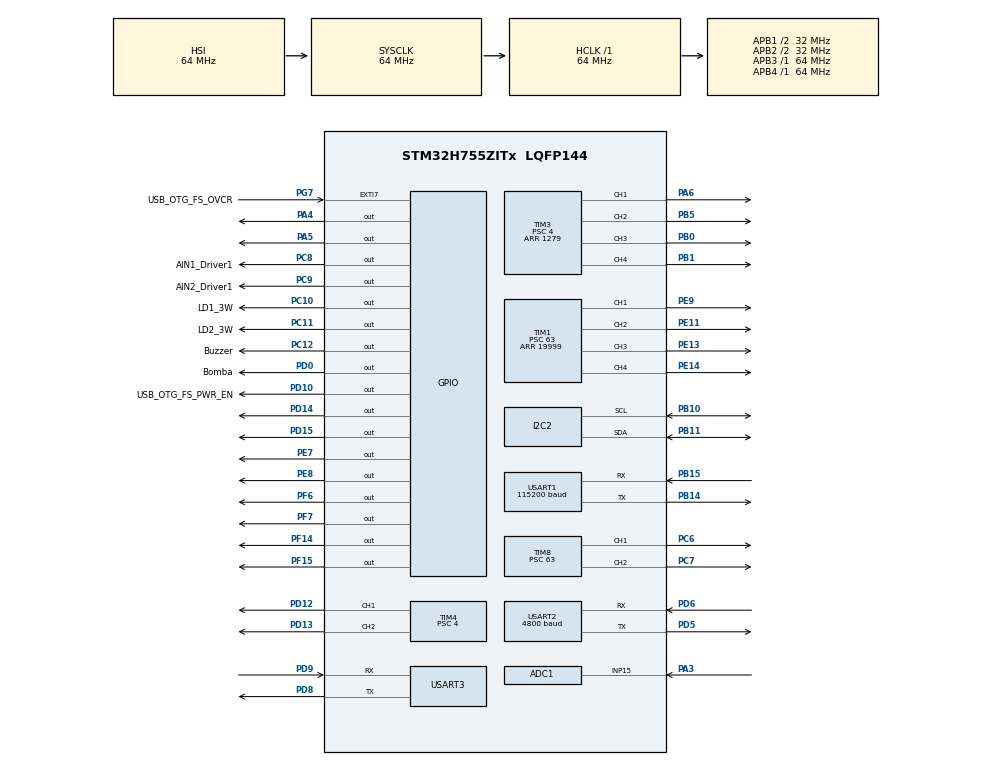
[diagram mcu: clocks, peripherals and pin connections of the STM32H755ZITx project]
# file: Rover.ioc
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ADC1.Channel-0\#ChannelRegularConversion=ADC_CHANNEL_15
ADC1.NbrOfConversion=1
ADC1.NbrOfConversionFlag=1
ADC1.OffsetNumber-0\#ChannelRegularConversion=ADC_OFFSET_NONE
ADC1.OffsetSignedSaturation-0\#ChannelRegularConversion=DISABLE
ADC1.Rank-0\#ChannelRegularConversion=1
ADC1.SamplingTime-0\#ChannelRegularConversion=ADC_SAMPLETIME_387CYCLES_5
ADC1.master=1
CortexM4.IPs=FATFS_M4\:I,FREERTOS_M4\:I,IWDG2\:I,RCC,WWDG2\:I,DMA,BDMA,MDMA,NVIC2\:I,ETH,USART3,DEBUG,PDM2PCM_M4\:I,PWR,RESMGR_UTILITY,SYS_M4\:I,USB_DEVICE_M4\:I,USB_HOST_M4\:I,CORTEX_M4\:I,GPIO,OPENAMP_M4\:I,VREFBUF,NUCLEO-H755ZI-Q
CortexM7.IPs=FATFS_M7\:I,FREERTOS_M7\:I,IWDG1\:I,RCC\:I,WWDG1\:I,DMA\:I,BDMA\:I,MDMA\:I,NVIC1\:I,ETH\:I,USART3\:I,SYS\:I,CORTEX_M7\:I,DEBUG\:I,PDM2PCM_M7\:I,PWR\:I,RESMGR_UTILITY\:I,USB_DEVICE_M7\:I,USB_HOST_M7\:I,GPIO\:I,OPENAMP_M7\:I,VREFBUF\:I,NUCLEO-H755ZI-Q\:I,TIM1\:I,TIM3\:I,TIM4\:I,ADC1\:I,I2C2\:I,USART2\:I,TIM8\:I,TIM6\:I,USART1\:I
CortexM7.Pins=PF6,PF7,PA4,PA5,PF14,PF15,PE7,PE8,PD10,PD14,PD15,PG7,PC8,PC9,PC10,PC11,PC12,PD0
FREERTOS_M7.Tasks01=defaultTask,24,128,StartDefaultTask,Default,NULL,Dynamic,NULL,NULL
FREERTOS_M7.configCHECK_FOR_STACK_OVERFLOW=2
FREERTOS_M7.configTOTAL_HEAP_SIZE=32768
FREERTOS_M7.configUSE_MALLOC_FAILED_HOOK=1
FREERTOS_M7.configUSE_NEWLIB_REENTRANT=1
I2C2.Timing=0x00707CBB
Mcu.Family=STM32H7
Mcu.Name=STM32H755ZITx
Mcu.Package=LQFP144
NVIC1.I2C2_ER_IRQn=true\:5\:0\:false\:false\:true\:true\:true\:true\:true
NVIC1.I2C2_EV_IRQn=true\:5\:0\:false\:false\:true\:true\:true\:true\:true
NVIC1.PriorityGroup=NVIC_PRIORITYGROUP_4
NVIC1.TIM6_DAC_IRQn=true\:15\:0\:false\:false\:true\:false\:false\:true\:true
NVIC1.TimeBase=TIM6_DAC_IRQn
NVIC1.TimeBaseIP=TIM6
NVIC1.USART1_IRQn=true\:5\:0\:false\:false\:true\:true\:true\:true\:true
NVIC2.PriorityGroup=NVIC_PRIORITYGROUP_4
PA1.PinAttribute=CortexM7
PA1.Signal=ETH_REF_CLK
PA11.PinAttribute=CortexM7
PA11.Signal=USB_OTG_FS_DM
PA12.PinAttribute=CortexM7
PA12.Signal=USB_OTG_FS_DP
PA13\ (JTMS/SWDIO).Mode=Serial_Wire
PA13\ (JTMS/SWDIO).PinAttribute=CortexM7
PA13\ (JTMS/SWDIO).Signal=DEBUG_JTMS-SWDIO
PA14\ (JTCK/SWCLK).Mode=Serial_Wire
PA14\ (JTCK/SWCLK).PinAttribute=CortexM7
PA14\ (JTCK/SWCLK).Signal=DEBUG_JTCK-SWCLK
PA2.PinAttribute=CortexM7
PA2.Signal=ETH_MDIO
PA3.PinAttribute=CortexM7
PA3.Signal=ADCx_INP15
PA4.PinAttribute=CortexM7
PA4.Signal=GPIO_Output
PA5.PinAttribute=CortexM7
PA5.Signal=GPIO_Output
PA6.PinAttribute=CortexM7
PA6.Signal=S_TIM3_CH1
PA7.PinAttribute=CortexM7
PA7.Signal=ETH_CRS_DV
PA8.PinAttribute=CortexM7
PA8.Signal=USB_OTG_FS_SOF
PA9.PinAttribute=CortexM7
PA9.Signal=USB_OTG_FS_VBUS
PB0.PinAttribute=CortexM7
PB0.Signal=S_TIM3_CH3
PB1.PinAttribute=CortexM7
PB1.Signal=S_TIM3_CH4
PB10.Mode=I2C
PB10.PinAttribute=CortexM7
PB10.Signal=I2C2_SCL
PB11.Mode=I2C
PB11.PinAttribute=CortexM7
PB11.Signal=I2C2_SDA
PB13.PinAttribute=CortexM7
PB13.Signal=ETH_TXD1
PB14.Mode=Asynchronous
PB14.PinAttribute=CortexM7
PB14.Signal=USART1_TX
PB15.Mode=Asynchronous
PB15.PinAttribute=CortexM7
PB15.Signal=USART1_RX
PB5.PinAttribute=CortexM7
PB5.Signal=S_TIM3_CH2
PC1.PinAttribute=CortexM7
PC1.Signal=ETH_MDC
PC10.GPIO_Label=LD1_3W
PC10.PinAttribute=CortexM7
PC10.Signal=GPIO_Output
PC11.GPIO_Label=LD2_3W
PC11.PinAttribute=CortexM7
PC11.Signal=GPIO_Output
PC12.GPIO_Label=Buzzer
PC12.PinAttribute=CortexM7
PC12.Signal=GPIO_Output
PC14-OSC32_IN\ (OSC32_IN).PinAttribute=Free
PC14-OSC32_IN\ (OSC32_IN).Signal=RCC_OSC32_IN
PC15-OSC32_OUT\ (OSC32_OUT).PinAttribute=Free
PC15-OSC32_OUT\ (OSC32_OUT).Signal=RCC_OSC32_OUT
PC4.PinAttribute=CortexM7
PC4.Signal=ETH_RXD0
PC5.PinAttribute=CortexM7
PC5.Signal=ETH_RXD1
PC6.PinAttribute=CortexM7
PC6.Signal=S_TIM8_CH1
PC7.PinAttribute=CortexM7
PC7.Signal=S_TIM8_CH2
PC8.GPIO_Label=AIN1_Driver1
PC8.PinAttribute=CortexM7
PC8.Signal=GPIO_Output
PC9.GPIO_Label=AIN2_Driver1
PC9.PinAttribute=CortexM7
PC9.Signal=GPIO_Output
PD0.GPIO_Label=Bomba
PD0.PinAttribute=CortexM7
PD0.Signal=GPIO_Output
PD10.GPIO_Label=USB_OTG_FS_PWR_EN
PD10.PinAttribute=CortexM7
PD10.Signal=GPIO_Output
PD12.PinAttribute=CortexM7
PD12.Signal=S_TIM4_CH1
PD13.PinAttribute=CortexM7
PD13.Signal=S_TIM4_CH2
PD14.PinAttribute=CortexM7
PD14.Signal=GPIO_Output
PD15.PinAttribute=CortexM7
PD15.Signal=GPIO_Output
PD5.Mode=Asynchronous
PD5.PinAttribute=CortexM7
PD5.Signal=USART2_TX
PD6.Mode=Asynchronous
PD6.PinAttribute=CortexM7
PD6.Signal=USART2_RX
PD8.Mode=Asynchronous
PD8.PinAttribute=CortexM7
PD8.Signal=USART3_TX
PD9.Mode=Asynchronous
PD9.PinAttribute=CortexM7
PD9.Signal=USART3_RX
PE11.PinAttribute=CortexM7
PE11.Signal=S_TIM1_CH2
PE13.PinAttribute=CortexM7
PE13.Signal=S_TIM1_CH3
PE14.PinAttribute=CortexM7
PE14.Signal=S_TIM1_CH4
PE7.PinAttribute=CortexM7
PE7.Signal=GPIO_Output
PE8.PinAttribute=CortexM7
PE8.Signal=GPIO_Output
PE9.PinAttribute=CortexM7
PE9.Signal=S_TIM1_CH1
PF14.PinAttribute=CortexM7
PF14.Signal=GPIO_Output
PF15.PinAttribute=CortexM7
PF15.Signal=GPIO_Output
PF6.PinAttribute=CortexM7
PF6.Signal=GPIO_Output
PF7.PinAttribute=CortexM7
PF7.Signal=GPIO_Output
PG11.PinAttribute=CortexM7
PG11.Signal=ETH_TX_EN
PG13.PinAttribute=CortexM7
PG13.Signal=ETH_TXD0
PG7.GPIO_Label=USB_OTG_FS_OVCR
PG7.PinAttribute=CortexM7
PG7.Signal=GPXTI7
PH0-OSC_IN\ (PH0).PinAttribute=Free
PH0-OSC_IN\ (PH0).Signal=RCC_OSC_IN
PH1-OSC_OUT\ (PH1).PinAttribute=Free
PH1-OSC_OUT\ (PH1).Signal=RCC_OSC_OUT
ProjectManager.HeapSize=M4-0x200,M7-0x200
ProjectManager.StackSize=M4-0x400,M7-0x400
ProjectManager.TargetToolchain=STM32CubeIDE
RCC.ADCFreq_Value=80000000
RCC.APB1Freq_Value=32000000
RCC.APB2Freq_Value=32000000
RCC.APB3Freq_Value=64000000
RCC.APB4Freq_Value=64000000
RCC.CortexFreq_Value=64000000
RCC.D2PPRE1=RCC_APB1_DIV2
RCC.D2PPRE2=RCC_APB2_DIV2
RCC.DIVM1=5
RCC.DIVM2=4
RCC.DIVN1=48
RCC.DIVN2=10
RCC.DIVQ1=5
RCC.DIVR1=4
RCC.HCLKFreq_Value=64000000
RCC.PLL2FRACN=0
RCC.PLL3FRACN=0
RCC.PLLFRACN=0
RCC.SYSCLKFreq_VALUE=64000000
RCC.SupplySource=PWR_DIRECT_SMPS_SUPPLY
RCC.USBFreq_Value=122880000
SH.ADCx_INP15.0=ADC1_INP15,IN15-Single-Ended
SH.S_TIM1_CH1.0=TIM1_CH1,PWM Generation1 CH1
SH.S_TIM1_CH2.0=TIM1_CH2,PWM Generation2 CH2
SH.S_TIM1_CH3.0=TIM1_CH3,PWM Generation3 CH3
SH.S_TIM1_CH4.0=TIM1_CH4,PWM Generation4 CH4
SH.S_TIM3_CH1.0=TIM3_CH1,PWM Generation1 CH1
SH.S_TIM3_CH2.0=TIM3_CH2,PWM Generation2 CH2
SH.S_TIM3_CH3.0=TIM3_CH3,PWM Generation3 CH3
SH.S_TIM3_CH4.0=TIM3_CH4,PWM Generation4 CH4
SH.S_TIM4_CH1.0=TIM4_CH1,PWM Generation1 CH1
SH.S_TIM4_CH2.0=TIM4_CH2,PWM Generation2 CH2
SH.S_TIM8_CH1.0=TIM8_CH1,PWM Generation1 CH1
SH.S_TIM8_CH2.0=TIM8_CH2,PWM Generation2 CH2
TIM1.AutoReloadPreload=TIM_AUTORELOAD_PRELOAD_ENABLE
TIM1.Channel-PWM\ Generation1\ CH1=TIM_CHANNEL_1
TIM1.Channel-PWM\ Generation2\ CH2=TIM_CHANNEL_2
TIM1.Channel-PWM\ Generation3\ CH3=TIM_CHANNEL_3
TIM1.Channel-PWM\ Generation4\ CH4=TIM_CHANNEL_4
TIM1.Period=19999 
TIM1.Prescaler=63
TIM1.Pulse-PWM\ Generation1\ CH1=1500
TIM1.Pulse-PWM\ Generation2\ CH2=1500
TIM1.Pulse-PWM\ Generation3\ CH3=1500
TIM1.Pulse-PWM\ Generation4\ CH4=1500
TIM3.Channel-PWM\ Generation1\ CH1=TIM_CHANNEL_1
TIM3.Channel-PWM\ Generation2\ CH2=TIM_CHANNEL_2
TIM3.Channel-PWM\ Generation3\ CH3=TIM_CHANNEL_3
TIM3.Channel-PWM\ Generation4\ CH4=TIM_CHANNEL_4
TIM3.Period=1279
TIM3.Prescaler=4
TIM4.Channel-PWM\ Generation1\ CH1=TIM_CHANNEL_1
TIM4.Channel-PWM\ Generation2\ CH2=TIM_CHANNEL_2
TIM4.Period=1279
TIM4.Prescaler=4
TIM8.Channel-PWM\ Generation1\ CH1=TIM_CHANNEL_1
TIM8.Channel-PWM\ Generation2\ CH2=TIM_CHANNEL_2
TIM8.Period=19999
TIM8.Prescaler=63
TIM8.Pulse-PWM\ Generation1\ CH1=1500
TIM8.Pulse-PWM\ Generation2\ CH2=1500
USART1.BaudRate=115200
USART1.VirtualMode-Asynchronous=VM_ASYNC
USART2.BaudRate=4800
USART2.VirtualMode-Asynchronous=VM_ASYNC
USART3.VirtualMode-Asynchronous=VM_ASYNC
VP_FREERTOS_M7_VS_CMSIS_V2.Mode=CMSIS_V2
VP_SYS_M4_VS_Systick.Mode=SysTick
VP_SYS_VS_tim6.Mode=TIM6
VP_TIM1_VS_ClockSourceINT.Mode=Internal
VP_TIM3_VS_ClockSourceINT.Mode=Internal
VP_TIM4_VS_ClockSourceINT.Mode=Internal
VP_TIM8_VS_ClockSourceINT.Mode=Internal
board=NUCLEO-H755ZI-Q

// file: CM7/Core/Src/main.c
/* USER CODE BEGIN Header */
/**
  ******************************************************************************
  * @file           : main.c
  * @brief          : Main program body
  ******************************************************************************
  * @attention
  *
  * Copyright (c) 2026 STMicroelectronics.
  * All rights reserved.
  *
  * This software is licensed under terms that can be found in the LICENSE file
  * in the root directory of this software component.
  * If no LICENSE file comes with this software, it is provided AS-IS.
  *
  ******************************************************************************
  */
/* USER CODE END Header */
#include "main.h"
#include "FreeRTOS.h"
#include "cmsis_os2.h"

/* USER CODE BEGIN Includes */

#include "servo_controller.h"
#include "motor_control.h"
#include "RTOS_Rover.h"
#include "ReceiveData.h"
#include "TransmitData.h"
#include "sensor_ultravioleta.h"
#include "soil_sensor.h"
#include <stdbool.h>

/* USER CODE END Includes */

/* USER CODE BEGIN PD */

/* DUAL_CORE_BOOT_SYNC_SEQUENCE: Define for dual core boot synchronization    */
/*                             demonstration code based on hardware semaphore */
/* This define is present in both CM7/CM4 projects                            */
/* To comment when developping/debugging on a single core                     */
#define DUAL_CORE_BOOT_SYNC_SEQUENCE

#if defined(DUAL_CORE_BOOT_SYNC_SEQUENCE)
#ifndef HSEM_ID_0
#define HSEM_ID_0 (0U) /* HW semaphore 0*/
#endif
#endif /* DUAL_CORE_BOOT_SYNC_SEQUENCE */

/* USER CODE END PD */

ADC_HandleTypeDef hadc1;

I2C_HandleTypeDef hi2c2;

TIM_HandleTypeDef htim1;
TIM_HandleTypeDef htim3;
TIM_HandleTypeDef htim4;
TIM_HandleTypeDef htim8;

UART_HandleTypeDef huart1;
UART_HandleTypeDef huart2;
UART_HandleTypeDef huart3;

/* Definitions for defaultTask */
osThreadId_t defaultTaskHandle;
const osThreadAttr_t defaultTask_attributes = {
  .name = "defaultTask",
  .stack_size = 128 * 4,
  .priority = (osPriority_t) osPriorityNormal,
};
/* USER CODE BEGIN PV */

SteeringAngles steering_angles = {
		.front_right = 90,
		.front_left = 90,
		.rear_right = 90,
		.rear_left = 90
};

uint8_t angle_soil_sensor_servos = 90; //Posición Inicial de 90°

uint8_t dc_motors_forward_duty_cycle = 0;
uint8_t dc_motors_backwards_duty_cycle = 0;

const uint16_t ARR = 1279;

ReceiveWifiDataConfig configWifi;

bool volatile measuringSoil = false;
bool volatile acceptableDistance = false;

SoilData soilData;

/* USER CODE END PV */

void SystemClock_Config(void);
static void MX_GPIO_Init(void);
static void MX_ADC1_Init(void);
static void MX_I2C2_Init(void);
static void MX_TIM1_Init(void);
static void MX_TIM3_Init(void);
static void MX_TIM4_Init(void);
static void MX_TIM8_Init(void);
static void MX_USART1_UART_Init(void);
static void MX_USART2_UART_Init(void);
static void MX_USART3_UART_Init(void);
void StartDefaultTask(void *argument);

int main(void)
{

/* USER CODE BEGIN Boot_Mode_Sequence_0 */
#if defined(DUAL_CORE_BOOT_SYNC_SEQUENCE)
  int32_t timeout;
#endif /* DUAL_CORE_BOOT_SYNC_SEQUENCE */
/* USER CODE END Boot_Mode_Sequence_0 */

/* USER CODE BEGIN Boot_Mode_Sequence_1 */
#if defined(DUAL_CORE_BOOT_SYNC_SEQUENCE)
  /* Wait until CPU2 boots and enters in stop mode or timeout*/
  timeout = 0xFFFF;
  while((__HAL_RCC_GET_FLAG(RCC_FLAG_D2CKRDY) != RESET) && (timeout-- > 0));
  if ( timeout < 0 )
  {
  Error_Handler();
  }
#endif /* DUAL_CORE_BOOT_SYNC_SEQUENCE */
/* USER CODE END Boot_Mode_Sequence_1 */
  /* MCU Configuration--------------------------------------------------------*/

  /* Reset of all peripherals, Initializes the Flash interface and the Systick. */
  HAL_Init();

  /* Configure the system clock */
  SystemClock_Config();
/* USER CODE BEGIN Boot_Mode_Sequence_2 */
#if defined(DUAL_CORE_BOOT_SYNC_SEQUENCE)
/* When system initialization is finished, Cortex-M7 will release Cortex-M4 by means of
HSEM notification */
/*HW semaphore Clock enable*/
__HAL_RCC_HSEM_CLK_ENABLE();
/*Take HSEM */
HAL_HSEM_FastTake(HSEM_ID_0);
/*Release HSEM in order to notify the CPU2(CM4)*/
HAL_HSEM_Release(HSEM_ID_0,0);
/* wait until CPU2 wakes up from stop mode */
timeout = 0xFFFF;
while((__HAL_RCC_GET_FLAG(RCC_FLAG_D2CKRDY) == RESET) && (timeout-- > 0));
if ( timeout < 0 )
{
Error_Handler();
}
#endif /* DUAL_CORE_BOOT_SYNC_SEQUENCE */
/* USER CODE END Boot_Mode_Sequence_2 */

  /* Initialize all configured peripherals */
  MX_GPIO_Init();
  MX_ADC1_Init();
  MX_I2C2_Init();
  MX_TIM1_Init();
  MX_TIM3_Init();
  MX_TIM4_Init();
  MX_TIM8_Init();
  MX_USART1_UART_Init();
  MX_USART2_UART_Init();
  MX_USART3_UART_Init();
  /* USER CODE BEGIN 2 */

  ServoMotors_PWM_Init(&htim1);
  DCmotorsInit();

  /* USER CODE END 2 */

  /* Init scheduler */
  osKernelInitialize();

  /* USER CODE BEGIN RTOS_MUTEX */
  /* add mutexes, ... */

  uartMutexHandle = osMutexNew(&uartMutexAttr);
  i2c2MutexHandle = osMutexNew(&i2c2MutexAttr);

  /* USER CODE END RTOS_MUTEX */

  /* USER CODE BEGIN RTOS_SEMAPHORES */
  /* add semaphores, ... */

  receiveDataSemHandle = osSemaphoreNew(1, 0, &receiveDataSemAttr);
  processDataSemHandle = osSemaphoreNew(1, 0, &processDataSemAttr);

  soilMeasureSemHandle = osSemaphoreNew(1, 0, &soilMeasureSemAttr);
  soilDataProcessSemHandle = osSemaphoreNew(1, 0, &soilDataProcessSemAttr);

  distanceMeasureSemHandle = osSemaphoreNew(1, 0, &distanceMeasureSemAttr);
  distanceProcessSemHandle = osSemaphoreNew(1, 0, &distanceProcessSemAttr);
  wateringSemHandle = osSemaphoreNew(1, 0, &wateringProcessSemAttr);

  transmitDataSemHandle = osSemaphoreNew(1, 0, &transmitDataSemAttr);

  guvaProcessSemHandle = osSemaphoreNew(1,  0, &guvaProcessSemAttr);

  /* USER CODE END RTOS_SEMAPHORES */

  /* USER CODE BEGIN RTOS_QUEUES */
  /* add queues, ... */

  soilMeasureQueueHandle = osMessageQueueNew(N_SOIL_MEASURMENTES, sizeof(float), &soilMedQueue_attr);

  /* USER CODE END RTOS_QUEUES */

  /* Create the thread(s) */
  /* creation of defaultTask */
  defaultTaskHandle = osThreadNew(StartDefaultTask, NULL, &defaultTask_attributes);

  /* USER CODE BEGIN RTOS_THREADS */
  /* add threads, ... */

  sendDataHandle = osThreadNew(TransmitDataTask, NULL, &sendDataAttr);

  receiveDataHandle = osThreadNew(receiveDataTask, NULL, &receiveDataAttr);

  processWebCommandHandle = osThreadNew(processWebDataTask, NULL, &processWebCommandAttr);

  measureDistanceHandle = osThreadNew(measureDistanceTask, NULL, &measureDistanceAttr);

  processDistanceHandle = osThreadNew(processDistanceTask, NULL, &processDistanceAttr);

  measureSoilHandle = osThreadNew(soilMeasuringTask, NULL, &measureSoilAttr);

  processSoilDataHandle = osThreadNew(soilDataProcessTask, NULL, &proccessSoilDataAttr);

  wateringHandle = osThreadNew(wateringTask, NULL, &wateringAttr);

  measureEnvironmentHandle = osThreadNew(readEnvironmentSensorsTask, NULL, &measureEnvironmentAttr);

  processEnvironmentDataHandle = osThreadNew(processGUVAsensorTask, NULL, &processEnvironmentDataAttr);

  if (!receiveDataHandle || !measureDistanceHandle || !processDistanceHandle ||
      !processWebCommandHandle || !measureSoilHandle || !processSoilDataHandle ||
      !wateringHandle || !sendDataHandle || !measureEnvironmentHandle || !processEnvironmentDataHandle) {
      Error_Handler();
  }

  /* USER CODE END RTOS_THREADS */

  /* Start scheduler */
  osKernelStart();

  /* We should never get here as control is now taken by the scheduler */

  /* Infinite loop */
  while (1)
  {

  }
}

void SystemClock_Config(void)
{
  RCC_OscInitTypeDef RCC_OscInitStruct = {0};
  RCC_ClkInitTypeDef RCC_ClkInitStruct = {0};

  /** Supply configuration update enable
  */
  HAL_PWREx_ConfigSupply(PWR_DIRECT_SMPS_SUPPLY);

  /** Configure the main internal regulator output voltage
  */
  __HAL_PWR_VOLTAGESCALING_CONFIG(PWR_REGULATOR_VOLTAGE_SCALE3);

  while(!__HAL_PWR_GET_FLAG(PWR_FLAG_VOSRDY)) {}

  /** Macro to configure the PLL clock source
  */
  __HAL_RCC_PLL_PLLSOURCE_CONFIG(RCC_PLLSOURCE_HSI);

  /** Initializes the RCC Oscillators according to the specified parameters
  * in the RCC_OscInitTypeDef structure.
  */
  RCC_OscInitStruct.OscillatorType = RCC_OSCILLATORTYPE_HSI;
  RCC_OscInitStruct.HSIState = RCC_HSI_DIV1;
  RCC_OscInitStruct.HSICalibrationValue = RCC_HSICALIBRATION_DEFAULT;
  RCC_OscInitStruct.PLL.PLLState = RCC_PLL_NONE;
  if (HAL_RCC_OscConfig(&RCC_OscInitStruct) != HAL_OK)
  {
    Error_Handler();
  }

  /** Initializes the CPU, AHB and APB buses clocks
  */
  RCC_ClkInitStruct.ClockType = RCC_CLOCKTYPE_HCLK|RCC_CLOCKTYPE_SYSCLK
                              |RCC_CLOCKTYPE_PCLK1|RCC_CLOCKTYPE_PCLK2
                              |RCC_CLOCKTYPE_D3PCLK1|RCC_CLOCKTYPE_D1PCLK1;
  RCC_ClkInitStruct.SYSCLKSource = RCC_SYSCLKSOURCE_HSI;
  RCC_ClkInitStruct.SYSCLKDivider = RCC_SYSCLK_DIV1;
  RCC_ClkInitStruct.AHBCLKDivider = RCC_HCLK_DIV1;
  RCC_ClkInitStruct.APB3CLKDivider = RCC_APB3_DIV1;
  RCC_ClkInitStruct.APB1CLKDivider = RCC_APB1_DIV2;
  RCC_ClkInitStruct.APB2CLKDivider = RCC_APB2_DIV2;
  RCC_ClkInitStruct.APB4CLKDivider = RCC_APB4_DIV1;

  if (HAL_RCC_ClockConfig(&RCC_ClkInitStruct, FLASH_LATENCY_1) != HAL_OK)
  {
    Error_Handler();
  }
}

static void MX_ADC1_Init(void)
{

  ADC_MultiModeTypeDef multimode = {0};
  ADC_ChannelConfTypeDef sConfig = {0};

  /** Common config
  */
  hadc1.Instance = ADC1;
  hadc1.Init.ClockPrescaler = ADC_CLOCK_ASYNC_DIV2;
  hadc1.Init.Resolution = ADC_RESOLUTION_16B;
  hadc1.Init.ScanConvMode = ADC_SCAN_DISABLE;
  hadc1.Init.EOCSelection = ADC_EOC_SINGLE_CONV;
  hadc1.Init.LowPowerAutoWait = DISABLE;
  hadc1.Init.ContinuousConvMode = DISABLE;
  hadc1.Init.NbrOfConversion = 1;
  hadc1.Init.DiscontinuousConvMode = DISABLE;
  hadc1.Init.ExternalTrigConv = ADC_SOFTWARE_START;
  hadc1.Init.ExternalTrigConvEdge = ADC_EXTERNALTRIGCONVEDGE_NONE;
  hadc1.Init.ConversionDataManagement = ADC_CONVERSIONDATA_DR;
  hadc1.Init.Overrun = ADC_OVR_DATA_PRESERVED;
  hadc1.Init.LeftBitShift = ADC_LEFTBITSHIFT_NONE;
  hadc1.Init.OversamplingMode = DISABLE;
  hadc1.Init.Oversampling.Ratio = 1;
  if (HAL_ADC_Init(&hadc1) != HAL_OK)
  {
    Error_Handler();
  }

  /** Configure the ADC multi-mode
  */
  multimode.Mode = ADC_MODE_INDEPENDENT;
  if (HAL_ADCEx_MultiModeConfigChannel(&hadc1, &multimode) != HAL_OK)
  {
    Error_Handler();
  }

  /** Configure Regular Channel
  */
  sConfig.Channel = ADC_CHANNEL_15;
  sConfig.Rank = ADC_REGULAR_RANK_1;
  sConfig.SamplingTime = ADC_SAMPLETIME_387CYCLES_5;
  sConfig.SingleDiff = ADC_SINGLE_ENDED;
  sConfig.OffsetNumber = ADC_OFFSET_NONE;
  sConfig.Offset = 0;
  sConfig.OffsetSignedSaturation = DISABLE;
  if (HAL_ADC_ConfigChannel(&hadc1, &sConfig) != HAL_OK)
  {
    Error_Handler();
  }

}

static void MX_I2C2_Init(void)
{

  hi2c2.Instance = I2C2;
  hi2c2.Init.Timing = 0x00707CBB;
  hi2c2.Init.OwnAddress1 = 0;
  hi2c2.Init.AddressingMode = I2C_ADDRESSINGMODE_7BIT;
  hi2c2.Init.DualAddressMode = I2C_DUALADDRESS_DISABLE;
  hi2c2.Init.OwnAddress2 = 0;
  hi2c2.Init.OwnAddress2Masks = I2C_OA2_NOMASK;
  hi2c2.Init.GeneralCallMode = I2C_GENERALCALL_DISABLE;
  hi2c2.Init.NoStretchMode = I2C_NOSTRETCH_DISABLE;
  if (HAL_I2C_Init(&hi2c2) != HAL_OK)
  {
    Error_Handler();
  }

  /** Configure Analogue filter
  */
  if (HAL_I2CEx_ConfigAnalogFilter(&hi2c2, I2C_ANALOGFILTER_ENABLE) != HAL_OK)
  {
    Error_Handler();
  }

  /** Configure Digital filter
  */
  if (HAL_I2CEx_ConfigDigitalFilter(&hi2c2, 0) != HAL_OK)
  {
    Error_Handler();
  }

}

static void MX_TIM1_Init(void)
{

  TIM_ClockConfigTypeDef sClockSourceConfig = {0};
  TIM_MasterConfigTypeDef sMasterConfig = {0};
  TIM_OC_InitTypeDef sConfigOC = {0};
  TIM_BreakDeadTimeConfigTypeDef sBreakDeadTimeConfig = {0};

  htim1.Instance = TIM1;
  htim1.Init.Prescaler = 63;
  htim1.Init.CounterMode = TIM_COUNTERMODE_UP;
  htim1.Init.Period = 19999 ;
  htim1.Init.ClockDivision = TIM_CLOCKDIVISION_DIV1;
  htim1.Init.RepetitionCounter = 0;
  htim1.Init.AutoReloadPreload = TIM_AUTORELOAD_PRELOAD_ENABLE;
  if (HAL_TIM_Base_Init(&htim1) != HAL_OK)
  {
    Error_Handler();
  }
  sClockSourceConfig.ClockSource = TIM_CLOCKSOURCE_INTERNAL;
  if (HAL_TIM_ConfigClockSource(&htim1, &sClockSourceConfig) != HAL_OK)
  {
    Error_Handler();
  }
  if (HAL_TIM_PWM_Init(&htim1) != HAL_OK)
  {
    Error_Handler();
  }
  sMasterConfig.MasterOutputTrigger = TIM_TRGO_RESET;
  sMasterConfig.MasterOutputTrigger2 = TIM_TRGO2_RESET;
  sMasterConfig.MasterSlaveMode = TIM_MASTERSLAVEMODE_DISABLE;
  if (HAL_TIMEx_MasterConfigSynchronization(&htim1, &sMasterConfig) != HAL_OK)
  {
    Error_Handler();
  }
  sConfigOC.OCMode = TIM_OCMODE_PWM1;
  sConfigOC.Pulse = 1500;
  sConfigOC.OCPolarity = TIM_OCPOLARITY_HIGH;
  sConfigOC.OCNPolarity = TIM_OCNPOLARITY_HIGH;
  sConfigOC.OCFastMode = TIM_OCFAST_DISABLE;
  sConfigOC.OCIdleState = TIM_OCIDLESTATE_RESET;
  sConfigOC.OCNIdleState = TIM_OCNIDLESTATE_RESET;
  if (HAL_TIM_PWM_ConfigChannel(&htim1, &sConfigOC, TIM_CHANNEL_1) != HAL_OK)
  {
    Error_Handler();
  }
  if (HAL_TIM_PWM_ConfigChannel(&htim1, &sConfigOC, TIM_CHANNEL_2) != HAL_OK)
  {
    Error_Handler();
  }
  if (HAL_TIM_PWM_ConfigChannel(&htim1, &sConfigOC, TIM_CHANNEL_3) != HAL_OK)
  {
    Error_Handler();
  }
  if (HAL_TIM_PWM_ConfigChannel(&htim1, &sConfigOC, TIM_CHANNEL_4) != HAL_OK)
  {
    Error_Handler();
  }
  sBreakDeadTimeConfig.OffStateRunMode = TIM_OSSR_DISABLE;
  sBreakDeadTimeConfig.OffStateIDLEMode = TIM_OSSI_DISABLE;
  sBreakDeadTimeConfig.LockLevel = TIM_LOCKLEVEL_OFF;
  sBreakDeadTimeConfig.DeadTime = 0;
  sBreakDeadTimeConfig.BreakState = TIM_BREAK_DISABLE;
  sBreakDeadTimeConfig.BreakPolarity = TIM_BREAKPOLARITY_HIGH;
  sBreakDeadTimeConfig.BreakFilter = 0;
  sBreakDeadTimeConfig.Break2State = TIM_BREAK2_DISABLE;
  sBreakDeadTimeConfig.Break2Polarity = TIM_BREAK2POLARITY_HIGH;
  sBreakDeadTimeConfig.Break2Filter = 0;
  sBreakDeadTimeConfig.AutomaticOutput = TIM_AUTOMATICOUTPUT_DISABLE;
  if (HAL_TIMEx_ConfigBreakDeadTime(&htim1, &sBreakDeadTimeConfig) != HAL_OK)
  {
    Error_Handler();
  }
  HAL_TIM_MspPostInit(&htim1);

}

static void MX_TIM3_Init(void)
{

  TIM_ClockConfigTypeDef sClockSourceConfig = {0};
  TIM_MasterConfigTypeDef sMasterConfig = {0};
  TIM_OC_InitTypeDef sConfigOC = {0};

  htim3.Instance = TIM3;
  htim3.Init.Prescaler = 4;
  htim3.Init.CounterMode = TIM_COUNTERMODE_UP;
  htim3.Init.Period = 1279;
  htim3.Init.ClockDivision = TIM_CLOCKDIVISION_DIV1;
  htim3.Init.AutoReloadPreload = TIM_AUTORELOAD_PRELOAD_DISABLE;
  if (HAL_TIM_Base_Init(&htim3) != HAL_OK)
  {
    Error_Handler();
  }
  sClockSourceConfig.ClockSource = TIM_CLOCKSOURCE_INTERNAL;
  if (HAL_TIM_ConfigClockSource(&htim3, &sClockSourceConfig) != HAL_OK)
  {
    Error_Handler();
  }
  if (HAL_TIM_PWM_Init(&htim3) != HAL_OK)
  {
    Error_Handler();
  }
  sMasterConfig.MasterOutputTrigger = TIM_TRGO_RESET;
  sMasterConfig.MasterSlaveMode = TIM_MASTERSLAVEMODE_DISABLE;
  if (HAL_TIMEx_MasterConfigSynchronization(&htim3, &sMasterConfig) != HAL_OK)
  {
    Error_Handler();
  }
  sConfigOC.OCMode = TIM_OCMODE_PWM1;
  sConfigOC.Pulse = 0;
  sConfigOC.OCPolarity = TIM_OCPOLARITY_HIGH;
  sConfigOC.OCFastMode = TIM_OCFAST_DISABLE;
  if (HAL_TIM_PWM_ConfigChannel(&htim3, &sConfigOC, TIM_CHANNEL_1) != HAL_OK)
  {
    Error_Handler();
  }
  if (HAL_TIM_PWM_ConfigChannel(&htim3, &sConfigOC, TIM_CHANNEL_2) != HAL_OK)
  {
    Error_Handler();
  }
  if (HAL_TIM_PWM_ConfigChannel(&htim3, &sConfigOC, TIM_CHANNEL_3) != HAL_OK)
  {
    Error_Handler();
  }
  if (HAL_TIM_PWM_ConfigChannel(&htim3, &sConfigOC, TIM_CHANNEL_4) != HAL_OK)
  {
    Error_Handler();
  }
  HAL_TIM_MspPostInit(&htim3);

}

static void MX_TIM4_Init(void)
{

  TIM_ClockConfigTypeDef sClockSourceConfig = {0};
  TIM_MasterConfigTypeDef sMasterConfig = {0};
  TIM_OC_InitTypeDef sConfigOC = {0};

  htim4.Instance = TIM4;
  htim4.Init.Prescaler = 4;
  htim4.Init.CounterMode = TIM_COUNTERMODE_UP;
  htim4.Init.Period = 1279;
  htim4.Init.ClockDivision = TIM_CLOCKDIVISION_DIV1;
  htim4.Init.AutoReloadPreload = TIM_AUTORELOAD_PRELOAD_DISABLE;
  if (HAL_TIM_Base_Init(&htim4) != HAL_OK)
  {
    Error_Handler();
  }
  sClockSourceConfig.ClockSource = TIM_CLOCKSOURCE_INTERNAL;
  if (HAL_TIM_ConfigClockSource(&htim4, &sClockSourceConfig) != HAL_OK)
  {
    Error_Handler();
  }
  if (HAL_TIM_PWM_Init(&htim4) != HAL_OK)
  {
    Error_Handler();
  }
  sMasterConfig.MasterOutputTrigger = TIM_TRGO_RESET;
  sMasterConfig.MasterSlaveMode = TIM_MASTERSLAVEMODE_DISABLE;
  if (HAL_TIMEx_MasterConfigSynchronization(&htim4, &sMasterConfig) != HAL_OK)
  {
    Error_Handler();
  }
  sConfigOC.OCMode = TIM_OCMODE_PWM1;
  sConfigOC.Pulse = 0;
  sConfigOC.OCPolarity = TIM_OCPOLARITY_HIGH;
  sConfigOC.OCFastMode = TIM_OCFAST_DISABLE;
  if (HAL_TIM_PWM_ConfigChannel(&htim4, &sConfigOC, TIM_CHANNEL_1) != HAL_OK)
  {
    Error_Handler();
  }
  if (HAL_TIM_PWM_ConfigChannel(&htim4, &sConfigOC, TIM_CHANNEL_2) != HAL_OK)
  {
    Error_Handler();
  }
  HAL_TIM_MspPostInit(&htim4);

}

static void MX_TIM8_Init(void)
{

  TIM_ClockConfigTypeDef sClockSourceConfig = {0};
  TIM_MasterConfigTypeDef sMasterConfig = {0};
  TIM_OC_InitTypeDef sConfigOC = {0};
  TIM_BreakDeadTimeConfigTypeDef sBreakDeadTimeConfig = {0};

  htim8.Instance = TIM8;
  htim8.Init.Prescaler = 63;
  htim8.Init.CounterMode = TIM_COUNTERMODE_UP;
  htim8.Init.Period = 19999;
  htim8.Init.ClockDivision = TIM_CLOCKDIVISION_DIV1;
  htim8.Init.RepetitionCounter = 0;
  htim8.Init.AutoReloadPreload = TIM_AUTORELOAD_PRELOAD_DISABLE;
  if (HAL_TIM_Base_Init(&htim8) != HAL_OK)
  {
    Error_Handler();
  }
  sClockSourceConfig.ClockSource = TIM_CLOCKSOURCE_INTERNAL;
  if (HAL_TIM_ConfigClockSource(&htim8, &sClockSourceConfig) != HAL_OK)
  {
    Error_Handler();
  }
  if (HAL_TIM_PWM_Init(&htim8) != HAL_OK)
  {
    Error_Handler();
  }
  sMasterConfig.MasterOutputTrigger = TIM_TRGO_RESET;
  sMasterConfig.MasterOutputTrigger2 = TIM_TRGO2_RESET;
  sMasterConfig.MasterSlaveMode = TIM_MASTERSLAVEMODE_DISABLE;
  if (HAL_TIMEx_MasterConfigSynchronization(&htim8, &sMasterConfig) != HAL_OK)
  {
    Error_Handler();
  }
  sConfigOC.OCMode = TIM_OCMODE_PWM1;
  sConfigOC.Pulse = 1500;
  sConfigOC.OCPolarity = TIM_OCPOLARITY_HIGH;
  sConfigOC.OCNPolarity = TIM_OCNPOLARITY_HIGH;
  sConfigOC.OCFastMode = TIM_OCFAST_DISABLE;
  sConfigOC.OCIdleState = TIM_OCIDLESTATE_RESET;
  sConfigOC.OCNIdleState = TIM_OCNIDLESTATE_RESET;
  if (HAL_TIM_PWM_ConfigChannel(&htim8, &sConfigOC, TIM_CHANNEL_1) != HAL_OK)
  {
    Error_Handler();
  }
  if (HAL_TIM_PWM_ConfigChannel(&htim8, &sConfigOC, TIM_CHANNEL_2) != HAL_OK)
  {
    Error_Handler();
  }
  sBreakDeadTimeConfig.OffStateRunMode = TIM_OSSR_DISABLE;
  sBreakDeadTimeConfig.OffStateIDLEMode = TIM_OSSI_DISABLE;
  sBreakDeadTimeConfig.LockLevel = TIM_LOCKLEVEL_OFF;
  sBreakDeadTimeConfig.DeadTime = 0;
  sBreakDeadTimeConfig.BreakState = TIM_BREAK_DISABLE;
  sBreakDeadTimeConfig.BreakPolarity = TIM_BREAKPOLARITY_HIGH;
  sBreakDeadTimeConfig.BreakFilter = 0;
  sBreakDeadTimeConfig.Break2State = TIM_BREAK2_DISABLE;
  sBreakDeadTimeConfig.Break2Polarity = TIM_BREAK2POLARITY_HIGH;
  sBreakDeadTimeConfig.Break2Filter = 0;
  sBreakDeadTimeConfig.AutomaticOutput = TIM_AUTOMATICOUTPUT_DISABLE;
  if (HAL_TIMEx_ConfigBreakDeadTime(&htim8, &sBreakDeadTimeConfig) != HAL_OK)
  {
    Error_Handler();
  }
  HAL_TIM_MspPostInit(&htim8);

}

static void MX_USART1_UART_Init(void)
{

  huart1.Instance = USART1;
  huart1.Init.BaudRate = 115200;
  huart1.Init.WordLength = UART_WORDLENGTH_8B;
  huart1.Init.StopBits = UART_STOPBITS_1;
  huart1.Init.Parity = UART_PARITY_NONE;
  huart1.Init.Mode = UART_MODE_TX_RX;
  huart1.Init.HwFlowCtl = UART_HWCONTROL_NONE;
  huart1.Init.OverSampling = UART_OVERSAMPLING_16;
  huart1.Init.OneBitSampling = UART_ONE_BIT_SAMPLE_DISABLE;
  huart1.Init.ClockPrescaler = UART_PRESCALER_DIV1;
  huart1.AdvancedInit.AdvFeatureInit = UART_ADVFEATURE_NO_INIT;
  if (HAL_UART_Init(&huart1) != HAL_OK)
  {
    Error_Handler();
  }
  if (HAL_UARTEx_SetTxFifoThreshold(&huart1, UART_TXFIFO_THRESHOLD_1_8) != HAL_OK)
  {
    Error_Handler();
  }
  if (HAL_UARTEx_SetRxFifoThreshold(&huart1, UART_RXFIFO_THRESHOLD_1_8) != HAL_OK)
  {
    Error_Handler();
  }
  if (HAL_UARTEx_DisableFifoMode(&huart1) != HAL_OK)
  {
    Error_Handler();
  }

}

static void MX_USART2_UART_Init(void)
{

  huart2.Instance = USART2;
  huart2.Init.BaudRate = 4800;
  huart2.Init.WordLength = UART_WORDLENGTH_8B;
  huart2.Init.StopBits = UART_STOPBITS_1;
  huart2.Init.Parity = UART_PARITY_NONE;
  huart2.Init.Mode = UART_MODE_TX_RX;
  huart2.Init.HwFlowCtl = UART_HWCONTROL_NONE;
  huart2.Init.OverSampling = UART_OVERSAMPLING_16;
  huart2.Init.OneBitSampling = UART_ONE_BIT_SAMPLE_DISABLE;
  huart2.Init.ClockPrescaler = UART_PRESCALER_DIV1;
  huart2.AdvancedInit.AdvFeatureInit = UART_ADVFEATURE_NO_INIT;
  if (HAL_UART_Init(&huart2) != HAL_OK)
  {
    Error_Handler();
  }
  if (HAL_UARTEx_SetTxFifoThreshold(&huart2, UART_TXFIFO_THRESHOLD_1_8) != HAL_OK)
  {
    Error_Handler();
  }
  if (HAL_UARTEx_SetRxFifoThreshold(&huart2, UART_RXFIFO_THRESHOLD_1_8) != HAL_OK)
  {
    Error_Handler();
  }
  if (HAL_UARTEx_DisableFifoMode(&huart2) != HAL_OK)
  {
    Error_Handler();
  }

}

static void MX_USART3_UART_Init(void)
{

  huart3.Instance = USART3;
  huart3.Init.BaudRate = 115200;
  huart3.Init.WordLength = UART_WORDLENGTH_8B;
  huart3.Init.StopBits = UART_STOPBITS_1;
  huart3.Init.Parity = UART_PARITY_NONE;
  huart3.Init.Mode = UART_MODE_TX_RX;
  huart3.Init.HwFlowCtl = UART_HWCONTROL_NONE;
  huart3.Init.OverSampling = UART_OVERSAMPLING_16;
  huart3.Init.OneBitSampling = UART_ONE_BIT_SAMPLE_DISABLE;
  huart3.Init.ClockPrescaler = UART_PRESCALER_DIV1;
  huart3.AdvancedInit.AdvFeatureInit = UART_ADVFEATURE_NO_INIT;
  if (HAL_UART_Init(&huart3) != HAL_OK)
  {
    Error_Handler();
  }
  if (HAL_UARTEx_SetTxFifoThreshold(&huart3, UART_TXFIFO_THRESHOLD_1_8) != HAL_OK)
  {
    Error_Handler();
  }
  if (HAL_UARTEx_SetRxFifoThreshold(&huart3, UART_RXFIFO_THRESHOLD_1_8) != HAL_OK)
  {
    Error_Handler();
  }
  if (HAL_UARTEx_DisableFifoMode(&huart3) != HAL_OK)
  {
    Error_Handler();
  }

}

static void MX_GPIO_Init(void)
{
  GPIO_InitTypeDef GPIO_InitStruct = {0};

  /* GPIO Ports Clock Enable */
  __HAL_RCC_GPIOF_CLK_ENABLE();
  __HAL_RCC_GPIOC_CLK_ENABLE();
  __HAL_RCC_GPIOA_CLK_ENABLE();
  __HAL_RCC_GPIOB_CLK_ENABLE();
  __HAL_RCC_GPIOE_CLK_ENABLE();
  __HAL_RCC_GPIOD_CLK_ENABLE();
  __HAL_RCC_GPIOG_CLK_ENABLE();

  /*Configure GPIO pin Output Level */
  HAL_GPIO_WritePin(GPIOF, GPIO_PIN_6|GPIO_PIN_7|GPIO_PIN_14|GPIO_PIN_15, GPIO_PIN_RESET);

  /*Configure GPIO pin Output Level */
  HAL_GPIO_WritePin(GPIOA, GPIO_PIN_4|GPIO_PIN_5, GPIO_PIN_RESET);

  /*Configure GPIO pin Output Level */
  HAL_GPIO_WritePin(GPIOE, GPIO_PIN_7|GPIO_PIN_8, GPIO_PIN_RESET);

  /*Configure GPIO pin Output Level */
  HAL_GPIO_WritePin(GPIOD, USB_OTG_FS_PWR_EN_Pin|GPIO_PIN_14|GPIO_PIN_15|Bomba_Pin, GPIO_PIN_RESET);

  /*Configure GPIO pin Output Level */
  HAL_GPIO_WritePin(GPIOC, AIN1_Driver1_Pin|AIN2_Driver1_Pin|LD1_3W_Pin|LD2_3W_Pin
                          |Buzzer_Pin, GPIO_PIN_RESET);

  /*Configure GPIO pins : PF6 PF7 PF14 PF15 */
  GPIO_InitStruct.Pin = GPIO_PIN_6|GPIO_PIN_7|GPIO_PIN_14|GPIO_PIN_15;
  GPIO_InitStruct.Mode = GPIO_MODE_OUTPUT_PP;
  GPIO_InitStruct.Pull = GPIO_NOPULL;
  GPIO_InitStruct.Speed = GPIO_SPEED_FREQ_LOW;
  HAL_GPIO_Init(GPIOF, &GPIO_InitStruct);

  /*Configure GPIO pins : PC1 PC4 PC5 */
  GPIO_InitStruct.Pin = GPIO_PIN_1|GPIO_PIN_4|GPIO_PIN_5;
  GPIO_InitStruct.Mode = GPIO_MODE_AF_PP;
  GPIO_InitStruct.Pull = GPIO_NOPULL;
  GPIO_InitStruct.Speed = GPIO_SPEED_FREQ_HIGH;
  GPIO_InitStruct.Alternate = GPIO_AF11_ETH;
  HAL_GPIO_Init(GPIOC, &GPIO_InitStruct);

  /*Configure GPIO pins : PA1 PA2 PA7 */
  GPIO_InitStruct.Pin = GPIO_PIN_1|GPIO_PIN_2|GPIO_PIN_7;
  GPIO_InitStruct.Mode = GPIO_MODE_AF_PP;
  GPIO_InitStruct.Pull = GPIO_NOPULL;
  GPIO_InitStruct.Speed = GPIO_SPEED_FREQ_HIGH;
  GPIO_InitStruct.Alternate = GPIO_AF11_ETH;
  HAL_GPIO_Init(GPIOA, &GPIO_InitStruct);

  /*Configure GPIO pins : PA4 PA5 */
  GPIO_InitStruct.Pin = GPIO_PIN_4|GPIO_PIN_5;
  GPIO_InitStruct.Mode = GPIO_MODE_OUTPUT_PP;
  GPIO_InitStruct.Pull = GPIO_NOPULL;
  GPIO_InitStruct.Speed = GPIO_SPEED_FREQ_LOW;
  HAL_GPIO_Init(GPIOA, &GPIO_InitStruct);

  /*Configure GPIO pins : PE7 PE8 */
  GPIO_InitStruct.Pin = GPIO_PIN_7|GPIO_PIN_8;
  GPIO_InitStruct.Mode = GPIO_MODE_OUTPUT_PP;
  GPIO_InitStruct.Pull = GPIO_NOPULL;
  GPIO_InitStruct.Speed = GPIO_SPEED_FREQ_LOW;
  HAL_GPIO_Init(GPIOE, &GPIO_InitStruct);

  /*Configure GPIO pin : PB13 */
  GPIO_InitStruct.Pin = GPIO_PIN_13;
  GPIO_InitStruct.Mode = GPIO_MODE_AF_PP;
  GPIO_InitStruct.Pull = GPIO_NOPULL;
  GPIO_InitStruct.Speed = GPIO_SPEED_FREQ_HIGH;
  GPIO_InitStruct.Alternate = GPIO_AF11_ETH;
  HAL_GPIO_Init(GPIOB, &GPIO_InitStruct);

  /*Configure GPIO pins : USB_OTG_FS_PWR_EN_Pin PD14 PD15 Bomba_Pin */
  GPIO_InitStruct.Pin = USB_OTG_FS_PWR_EN_Pin|GPIO_PIN_14|GPIO_PIN_15|Bomba_Pin;
  GPIO_InitStruct.Mode = GPIO_MODE_OUTPUT_PP;
  GPIO_InitStruct.Pull = GPIO_NOPULL;
  GPIO_InitStruct.Speed = GPIO_SPEED_FREQ_LOW;
  HAL_GPIO_Init(GPIOD, &GPIO_InitStruct);

  /*Configure GPIO pin : USB_OTG_FS_OVCR_Pin */
  GPIO_InitStruct.Pin = USB_OTG_FS_OVCR_Pin;
  GPIO_InitStruct.Mode = GPIO_MODE_IT_RISING;
  GPIO_InitStruct.Pull = GPIO_NOPULL;
  HAL_GPIO_Init(USB_OTG_FS_OVCR_GPIO_Port, &GPIO_InitStruct);

  /*Configure GPIO pins : AIN1_Driver1_Pin AIN2_Driver1_Pin LD1_3W_Pin LD2_3W_Pin
                           Buzzer_Pin */
  GPIO_InitStruct.Pin = AIN1_Driver1_Pin|AIN2_Driver1_Pin|LD1_3W_Pin|LD2_3W_Pin
                          |Buzzer_Pin;
  GPIO_InitStruct.Mode = GPIO_MODE_OUTPUT_PP;
  GPIO_InitStruct.Pull = GPIO_NOPULL;
  GPIO_InitStruct.Speed = GPIO_SPEED_FREQ_LOW;
  HAL_GPIO_Init(GPIOC, &GPIO_InitStruct);

  /*Configure GPIO pins : PA8 PA11 PA12 */
  GPIO_InitStruct.Pin = GPIO_PIN_8|GPIO_PIN_11|GPIO_PIN_12;
  GPIO_InitStruct.Mode = GPIO_MODE_AF_PP;
  GPIO_InitStruct.Pull = GPIO_NOPULL;
  GPIO_InitStruct.Speed = GPIO_SPEED_FREQ_LOW;
  GPIO_InitStruct.Alternate = GPIO_AF10_OTG1_FS;
  HAL_GPIO_Init(GPIOA, &GPIO_InitStruct);

  /*Configure GPIO pins : PG11 PG13 */
  GPIO_InitStruct.Pin = GPIO_PIN_11|GPIO_PIN_13;
  GPIO_InitStruct.Mode = GPIO_MODE_AF_PP;
  GPIO_InitStruct.Pull = GPIO_NOPULL;
  GPIO_InitStruct.Speed = GPIO_SPEED_FREQ_HIGH;
  GPIO_InitStruct.Alternate = GPIO_AF11_ETH;
  HAL_GPIO_Init(GPIOG, &GPIO_InitStruct);

}

/* USER CODE BEGIN 4 */

//INT CALLBACKS!!!!

extern uint8_t rxByte;

void HAL_UART_RxCpltCallback(UART_HandleTypeDef *huart)
{
    if (huart->Instance == USART1) {
        osSemaphoreRelease(receiveDataSemHandle);
        HAL_UART_Receive_IT(huart, &rxByte, 1);
    }

}

void HAL_UART_ErrorCallback(UART_HandleTypeDef *huart) {
    if (huart->Instance == USART1) HAL_UART_Receive_IT(huart, &rxByte, 1);
}

/* USER CODE END 4 */

void StartDefaultTask(void *argument)
{
  /* USER CODE BEGIN 5 */
  /* Infinite loop */
	for(;;)
	  {
		  osDelay(osWaitForever);
	  }
  /* USER CODE END 5 */
}

void HAL_TIM_PeriodElapsedCallback(TIM_HandleTypeDef *htim)
{
  if (htim->Instance == TIM6)
  {
    HAL_IncTick();
  }
}

void Error_Handler(void)
{
  __disable_irq();
  while (1)
  {
  }
}

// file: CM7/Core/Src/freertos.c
/* USER CODE BEGIN Header */
/**
  ******************************************************************************
  * File Name          : freertos.c
  * Description        : Code for freertos applications
  ******************************************************************************
  * @attention
  *
  * Copyright (c) 2026 STMicroelectronics.
  * All rights reserved.
  *
  * This software is licensed under terms that can be found in the LICENSE file
  * in the root directory of this software component.
  * If no LICENSE file comes with this software, it is provided AS-IS.
  *
  ******************************************************************************
  */
/* USER CODE END Header */

#include "FreeRTOS.h"
#include "task.h"
#include "main.h"

/* USER CODE BEGIN Includes */

#include "cmsis_os2.h"

/* USER CODE END Includes */

/* Hook prototypes */
void vApplicationStackOverflowHook(xTaskHandle xTask, char *pcTaskName);
void vApplicationMallocFailedHook(void);

/* USER CODE BEGIN 4 */
void vApplicationStackOverflowHook(xTaskHandle xTask, char *pcTaskName)
{
   /* Run time stack overflow checking is performed if
   configCHECK_FOR_STACK_OVERFLOW is defined to 1 or 2. This hook function is
   called if a stack overflow is detected. */
}
/* USER CODE END 4 */

/* USER CODE BEGIN 5 */
void vApplicationMallocFailedHook(void)
{
   /* vApplicationMallocFailedHook() will only be called if
   configUSE_MALLOC_FAILED_HOOK is set to 1 in FreeRTOSConfig.h. It is a hook
   function that will get called if a call to pvPortMalloc() fails.
   pvPortMalloc() is called internally by the kernel whenever a task, queue,
   timer or semaphore is created. It is also called by various parts of the
   demo application. If heap_1.c or heap_2.c are used, then the size of the
   heap available to pvPortMalloc() is defined by configTOTAL_HEAP_SIZE in
   FreeRTOSConfig.h, and the xPortGetFreeHeapSize() API function can be used
   to query the size of free heap space that remains (although it does not
   provide information on how the remaining heap might be fragmented). */
}
/* USER CODE END 5 */
